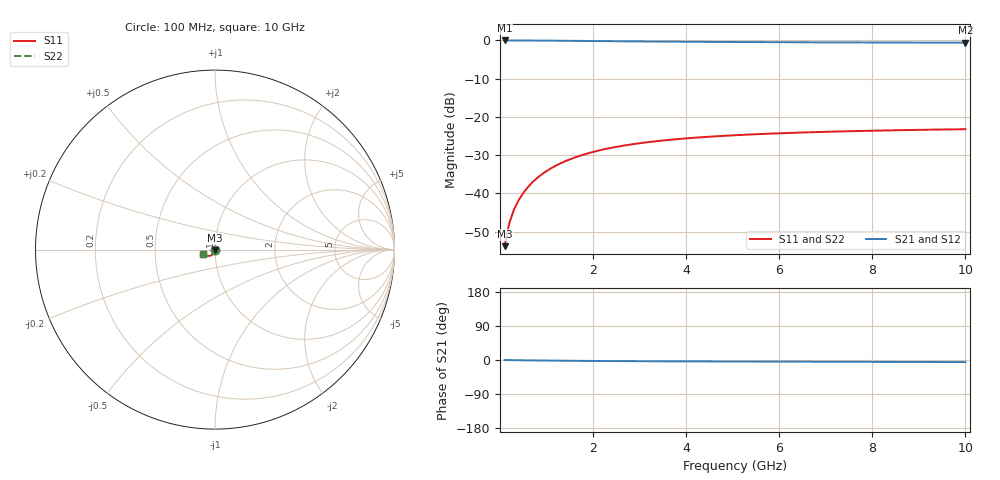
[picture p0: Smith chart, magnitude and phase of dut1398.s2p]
! Touchstone file exported from HFSS 2024.1.0
!  File:  C:/UserFiles/LocalFiles/RDL_TSV_Batchsim/temp_TSV1_1398_1780381926.aedt
!  Generated:  02:53:23 PM Jun  2, 2026
!  Design:  TSV1
!  Project:  temp_TSV1_1398_1780381926
!  Setup:  Setup1
!  Solution:  Sweep
! Variables:
!  dtsv = 12.49um
!  hbump = 3um
!  htsv = 84.27um
!  lrdl = 252.1521522um
!  p = 40
!  p1 = 43um
!  t = 500um
!  trdl = 3um
!  wrdl = 24.89489489um
# GHz S MA R 50.000000
! Terminal data exported
! Port[1] = TSV22_T1
! Port[2] = TSV22_T2
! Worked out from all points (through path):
!   100 points, 100 MHz to 10 GHz, reference 50 ohm
!   highest |S21| = 0.00 dB at 100 MHz (marker M1); lowest = -0.6 dB at 10 GHz (marker M2)
!   lowest |S11| = -53.8 dB at 100 MHz (marker M3), VSWR 1.00, Z = 50 - j0.203 ohm
!   |S11| at or under -10 dB: start of sweep to end of sweep
!   |S22| runs from -53.8 to -23.2 dB; largest |S21 - S12| = 6.3e-15
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0.1  0.002035 -88.9  0.9998 -0.2  0.9998 -0.2  0.002035 -88.9
! Gamma 0 0 0 0
! Port Impedance 50 0 50 0
0.2  0.004066 -91.9  0.9996 -0.3  0.9996 -0.3  0.004065 -91.9
0.3  0.006092 -94.0  0.9993 -0.5  0.9993 -0.5  0.006092 -94.0
0.4  0.008105 -96.0  0.9989 -0.6  0.9989 -0.6  0.008105 -96.0
0.5  0.0101 -97.8  0.9983 -0.8  0.9983 -0.8  0.0101 -97.8
0.6  0.01206 -99.6  0.9977 -0.9  0.9977 -0.9  0.01206 -99.6
0.7  0.01399 -101.3  0.997 -1.1  0.997 -1.1  0.01399 -101.3
0.8  0.01588 -103.0  0.9961 -1.2  0.9961 -1.2  0.01588 -103.0
0.9  0.01773 -104.7  0.9952 -1.3  0.9952 -1.3  0.01773 -104.7
1.1  0.02129 -107.8  0.9933 -1.6  0.9933 -1.6  0.02129 -107.8
1.4  0.02625 -112.3  0.9899 -2.0  0.9899 -2.0  0.02625 -112.3
1.6  0.0293 -115.1  0.9875 -2.2  0.9875 -2.2  0.0293 -115.1
1.8  0.03213 -117.8  0.985 -2.4  0.985 -2.4  0.03213 -117.8
2.1  0.036 -121.4  0.9813 -2.6  0.9813 -2.6  0.036 -121.4
2.5  0.0405 -125.8  0.9765 -2.9  0.9765 -2.9  0.0405 -125.8
2.9  0.04434 -129.6  0.9721 -3.1  0.9721 -3.1  0.04434 -129.6
3.4  0.04836 -133.8  0.967 -3.4  0.967 -3.4  0.04836 -133.8
4.2  0.05344 -139.2  0.96 -3.7  0.96 -3.7  0.05344 -139.2
5.1  0.05773 -144.1  0.9538 -4.0  0.9538 -4.0  0.05773 -144.1
6.7  0.06301 -150.6  0.9456 -4.5  0.9456 -4.5  0.06301 -150.6
8.4  0.06666 -155.5  0.9398 -5.0  0.9398 -5.0  0.06666 -155.5
10  0.069 -159.1  0.9359 -5.5  0.9359 -5.5  0.069 -159.1
